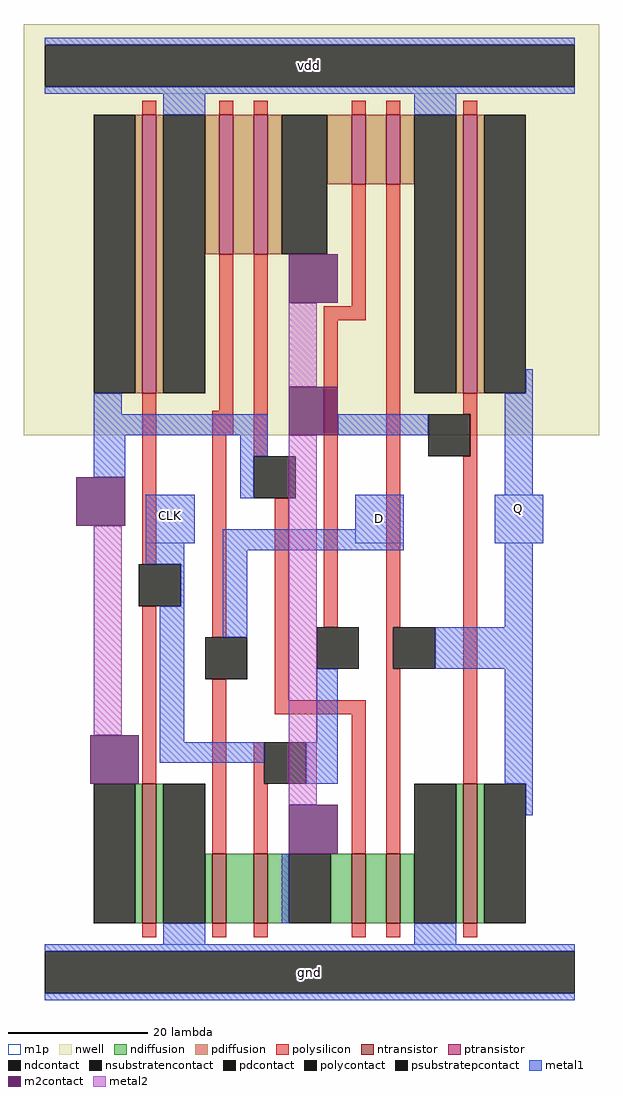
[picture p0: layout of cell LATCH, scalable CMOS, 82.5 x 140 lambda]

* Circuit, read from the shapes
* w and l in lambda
.subckt LATCH D CLK Q vdd gnd
M1 gnd CLK n1 gnd nfet w=20 l=2
M2 n2 D gnd gnd nfet w=10 l=2
M3 n3 CLK n2 gnd nfet w=10 l=2
M4 n4 n1 n3 gnd nfet w=10 l=2
M5 gnd Q n4 gnd nfet w=10 l=2
M6 Q n3 gnd gnd nfet w=20 l=2
M7 vdd CLK n1 vdd pfet w=40 l=2
M8 n5 D vdd vdd pfet w=20 l=2
M9 n3 n1 n5 vdd pfet w=20 l=2
M10 n6 CLK n3 vdd pfet w=10 l=2
M11 vdd Q n6 vdd pfet w=10 l=2
M12 Q n3 vdd vdd pfet w=40 l=2
.ends

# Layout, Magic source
magic
tech scmos
magscale 1 2
<< nwell >>
rect -12 154 153 272
<< ntransistor >>
rect 22 14 26 54
rect 42 14 46 34
rect 54 14 58 34
rect 82 14 86 34
rect 92 14 96 34
rect 114 14 118 54
<< ptransistor >>
rect 22 166 26 246
rect 44 206 48 246
rect 54 206 58 246
rect 82 226 86 246
rect 92 226 96 246
rect 114 166 118 246
<< ndiffusion >>
rect 20 14 22 54
rect 26 14 28 54
rect 40 14 42 34
rect 46 14 54 34
rect 58 14 64 34
rect 76 14 82 34
rect 86 14 92 34
rect 96 14 100 34
rect 112 14 114 54
rect 118 14 120 54
<< pdiffusion >>
rect 20 166 22 246
rect 26 166 28 246
rect 40 206 44 246
rect 48 206 54 246
rect 58 206 62 246
rect 75 226 82 246
rect 86 226 92 246
rect 96 226 100 246
rect 112 166 114 246
rect 118 166 120 246
<< ndcontact >>
rect 8 14 20 54
rect 28 14 40 54
rect 64 14 76 34
rect 100 14 112 54
rect 120 14 132 54
<< pdcontact >>
rect 8 166 20 246
rect 28 166 40 246
rect 62 206 75 246
rect 100 166 112 246
rect 120 166 132 246
<< psubstratepcontact >>
rect -6 -6 146 6
<< nsubstratencontact >>
rect -6 254 146 266
<< polysilicon >>
rect 22 246 26 250
rect 44 246 48 250
rect 54 246 58 250
rect 82 246 86 250
rect 92 246 96 250
rect 114 246 118 250
rect 22 117 26 166
rect 44 161 48 206
rect 42 154 48 161
rect 22 54 26 105
rect 42 96 46 154
rect 54 148 58 206
rect 82 191 86 226
rect 74 187 86 191
rect 42 34 46 84
rect 60 78 64 136
rect 74 99 78 187
rect 92 99 96 226
rect 114 160 118 166
rect 116 148 118 160
rect 92 87 94 99
rect 60 74 86 78
rect 54 54 57 66
rect 54 34 58 54
rect 82 34 86 74
rect 92 34 96 87
rect 114 54 118 148
rect 22 10 26 14
rect 42 10 46 14
rect 54 10 58 14
rect 82 10 86 14
rect 92 10 96 14
rect 114 10 118 14
<< polycontact >>
rect 21 105 33 117
rect 54 136 66 148
rect 40 84 52 96
rect 104 148 116 160
rect 72 87 84 99
rect 94 87 106 99
rect 57 54 69 66
<< metal1 >>
rect -6 266 146 268
rect -6 252 146 254
rect 28 246 40 252
rect 100 246 112 252
rect 8 160 16 166
rect 8 154 58 160
rect 132 166 134 173
rect 78 154 104 160
rect 8 142 17 154
rect 50 148 58 154
rect 23 123 37 137
rect 50 136 54 148
rect 126 137 134 166
rect 83 127 97 137
rect 23 117 34 123
rect 33 105 34 117
rect 27 66 34 105
rect 45 121 97 127
rect 123 123 137 137
rect 45 96 52 121
rect 126 99 134 123
rect 106 87 134 99
rect 72 66 78 87
rect 27 60 57 66
rect 69 54 78 66
rect 126 54 134 87
rect 62 14 64 34
rect 132 45 134 54
rect 28 8 40 14
rect 100 8 112 14
rect -6 6 146 8
rect -6 -8 146 -6
<< m2contact >>
rect 64 192 78 206
rect 64 154 78 168
rect 3 128 17 142
rect 7 54 21 68
rect 64 34 78 48
<< metal2 >>
rect 64 168 72 192
rect 8 68 16 128
rect 64 48 72 154
<< m1p >>
rect -6 252 146 268
rect 23 123 37 137
rect 83 123 97 137
rect 123 123 137 137
rect -6 -8 146 8
<< labels >>
rlabel nsubstratencontact 70 260 70 260 0 vdd
port 4 nsew power bidirectional abutment
rlabel psubstratepcontact 70 0 70 0 0 gnd
port 5 nsew ground bidirectional abutment
rlabel metal1 30 131 30 131 0 CLK
port 2 nsew clock input
rlabel metal1 90 130 90 130 0 D
port 1 nsew signal input
rlabel metal1 130 133 130 133 0 Q
port 3 nsew signal output
<< properties >>
string FIXED_BBOX 0 0 140 260
string LEFclass CORE
string LEFsite core
string LEFsymmetry X Y
<< end >>
